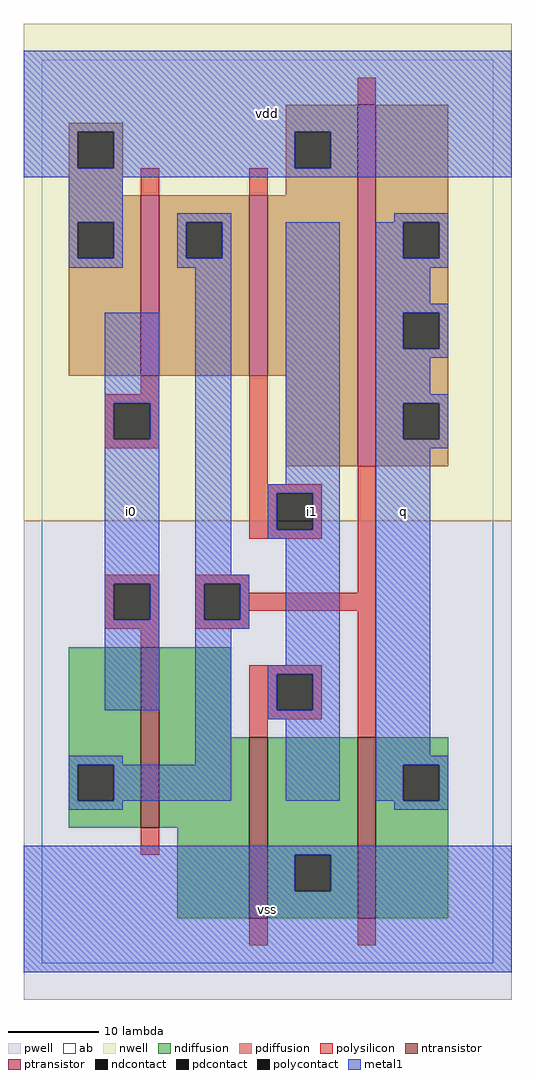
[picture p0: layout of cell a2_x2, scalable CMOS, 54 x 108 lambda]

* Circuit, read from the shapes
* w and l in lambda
.subckt a2_x2 i0 i1 q vdd vss
M1 n1 i0 n2 VSUBS nfet w=20 l=2
M2 vss i1 n1 VSUBS nfet w=20 l=2
M3 q n2 vss VSUBS nfet w=20 l=2
M4 n2 i0 vdd n3 pfet w=20 l=2
M5 vdd i1 n2 n3 pfet w=20 l=2
M6 q n2 vdd n3 pfet w=40 l=2
.ends

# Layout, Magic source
magic
tech scmos
<< ab >>
rect 0 0 50 100
<< pwell >>
rect -2 -4 52 49
<< nwell >>
rect -2 49 52 104
<< polysilicon >>
rect 35 95 37 98
rect 11 85 13 88
rect 23 85 25 88
rect 11 63 13 65
rect 7 62 13 63
rect 7 58 8 62
rect 12 58 13 62
rect 7 57 13 58
rect 23 53 25 65
rect 23 52 31 53
rect 23 48 26 52
rect 30 48 31 52
rect 23 47 31 48
rect 7 42 13 43
rect 7 38 8 42
rect 12 38 13 42
rect 7 37 13 38
rect 17 42 23 43
rect 17 38 18 42
rect 22 41 23 42
rect 35 41 37 55
rect 22 39 37 41
rect 22 38 23 39
rect 17 37 23 38
rect 11 35 13 37
rect 23 32 31 33
rect 23 28 26 32
rect 30 28 31 32
rect 23 27 31 28
rect 23 25 25 27
rect 35 25 37 39
rect 11 12 13 15
rect 23 2 25 5
rect 35 2 37 5
<< ndiffusion >>
rect 3 22 11 35
rect 3 18 4 22
rect 8 18 11 22
rect 3 15 11 18
rect 13 25 21 35
rect 13 15 23 25
rect 15 5 23 15
rect 25 12 35 25
rect 25 8 28 12
rect 32 8 35 12
rect 25 5 35 8
rect 37 22 45 25
rect 37 18 40 22
rect 44 18 45 22
rect 37 5 45 18
<< pdiffusion >>
rect 3 92 9 93
rect 3 88 4 92
rect 8 88 9 92
rect 27 92 35 95
rect 27 88 28 92
rect 32 88 35 92
rect 3 85 9 88
rect 27 85 35 88
rect 3 82 11 85
rect 3 78 4 82
rect 8 78 11 82
rect 3 65 11 78
rect 13 82 23 85
rect 13 78 16 82
rect 20 78 23 82
rect 13 65 23 78
rect 25 65 35 85
rect 27 55 35 65
rect 37 82 45 95
rect 37 78 40 82
rect 44 78 45 82
rect 37 72 45 78
rect 37 68 40 72
rect 44 68 45 72
rect 37 62 45 68
rect 37 58 40 62
rect 44 58 45 62
rect 37 55 45 58
<< metal1 >>
rect -2 92 52 101
rect -2 88 4 92
rect 8 88 28 92
rect 32 88 52 92
rect -2 87 52 88
rect 3 82 9 87
rect 3 78 4 82
rect 8 78 9 82
rect 3 77 9 78
rect 15 82 21 83
rect 39 82 45 83
rect 15 78 16 82
rect 20 78 21 82
rect 15 77 21 78
rect 7 62 13 72
rect 7 58 8 62
rect 12 58 13 62
rect 7 42 13 58
rect 7 38 8 42
rect 12 38 13 42
rect 7 28 13 38
rect 17 43 21 77
rect 27 53 33 82
rect 25 52 33 53
rect 25 48 26 52
rect 30 48 33 52
rect 25 47 33 48
rect 17 42 23 43
rect 17 38 18 42
rect 22 38 23 42
rect 17 37 23 38
rect 3 22 9 23
rect 17 22 21 37
rect 27 33 33 47
rect 25 32 33 33
rect 25 28 26 32
rect 30 28 33 32
rect 25 27 33 28
rect 3 18 4 22
rect 8 18 21 22
rect 27 18 33 27
rect 37 78 40 82
rect 44 78 45 82
rect 37 77 45 78
rect 37 73 43 77
rect 37 72 45 73
rect 37 68 40 72
rect 44 68 45 72
rect 37 67 45 68
rect 37 63 43 67
rect 37 62 45 63
rect 37 58 40 62
rect 44 58 45 62
rect 37 57 45 58
rect 37 23 43 57
rect 37 22 45 23
rect 37 18 40 22
rect 44 18 45 22
rect 3 17 9 18
rect 39 17 45 18
rect -2 12 52 13
rect -2 8 28 12
rect 32 8 52 12
rect -2 -1 52 8
<< ntransistor >>
rect 11 15 13 35
rect 23 5 25 25
rect 35 5 37 25
<< ptransistor >>
rect 11 65 13 85
rect 23 65 25 85
rect 35 55 37 95
<< polycontact >>
rect 8 58 12 62
rect 26 48 30 52
rect 8 38 12 42
rect 18 38 22 42
rect 26 28 30 32
<< ndcontact >>
rect 4 18 8 22
rect 28 8 32 12
rect 40 18 44 22
<< pdcontact >>
rect 4 88 8 92
rect 28 88 32 92
rect 4 78 8 82
rect 16 78 20 82
rect 40 78 44 82
rect 40 68 44 72
rect 40 58 44 62
<< labels >>
rlabel metal1 10 50 10 50 6 i0
rlabel metal1 10 50 10 50 6 i0
rlabel metal1 25 6 25 6 6 vss
rlabel metal1 25 6 25 6 6 vss
rlabel metal1 30 50 30 50 6 i1
rlabel metal1 30 50 30 50 6 i1
rlabel metal1 25 94 25 94 6 vdd
rlabel metal1 25 94 25 94 6 vdd
rlabel metal1 40 50 40 50 6 q
rlabel metal1 40 50 40 50 6 q
<< end >>
